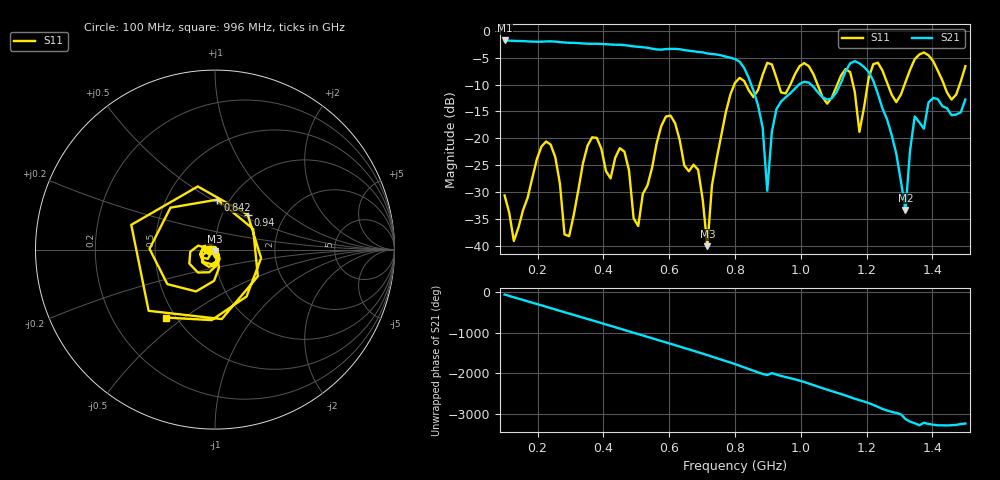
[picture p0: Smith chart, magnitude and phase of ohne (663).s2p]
! NanoVNA-App
! Date: 2025-09-25 14:25:57
! Start: 100MHz Stop: 1,5GHz Points: 101
! S-Parameter data: F S11 S21 S12 S22
# Hz S RI R 50
!  Frequency  S11_Real  S11_Imag  S21_Real  S21_Imag  S12_Real  S12_Imag  S22_Real  S22_Imag
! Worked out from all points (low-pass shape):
!   101 points, 100 MHz to 1.5 GHz, reference 50 ohm
!   highest |S21| = -1.79 dB at 100 MHz (marker M1); lowest = -33.3 dB at 1.318 GHz (marker M2)
!   |S21| within 3 dB of the highest: start of sweep to 771.3 MHz
!   lowest |S11| = -40.1 dB at 716 MHz (marker M3), VSWR 1.02, Z = 49.7 - j0.953 ohm
!   |S11| at or under -10 dB: start of sweep to 798 MHz; 833.2 MHz to 875.1 MHz (41.84 MHz wide, 4.9 % of centre); 1.051 GHz to 1.111 GHz (60.09 MHz wide, 5.56 % of centre) (the widest 3 of 7)
!   S12 and S22 are empty: the file has one direction only
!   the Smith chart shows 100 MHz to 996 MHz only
!   S11 on the Smith chart (normalised r, x): 100 MHz: 0.94, -0.01; 842 MHz: 0.88, +0.53; 940 MHz: 1.31, +0.55; 996 MHz: 0.44, -0.43
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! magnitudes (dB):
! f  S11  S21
! 100 MHz  -30.6  -1.8
! 128 MHz  -39.1  -1.9
! 226 MHz  -20.6  -2.0
! 296 MHz  -38.2  -2.2
! 338 MHz  -24.7  -2.4
! 464 MHz  -22.5  -2.7
! 506 MHz  -36.3  -3.0
! 576 MHz  -17.7  -3.5
! 688 MHz  -25.9  -3.9
! 716 MHz  -40.1  -4.2
! 800 MHz  -9.7  -5.2
! 842 MHz  -11.1  -8.8
! 898 MHz  -6.0  -29.8
! 940 MHz  -11.5  -13.2
! 996 MHz  -6.6  -9.9
! 1.038 GHz  -8.0  -10.4
! 1.178 GHz  -18.8  -6.1
! 1.22 GHz  -6.2  -9.3
! 1.276 GHz  -11.9  -19.4
! 1.318 GHz  -9.5  -33.3
! 1.346 GHz  -5.3  -15.9
! 1.5 GHz  -6.6  -12.8
